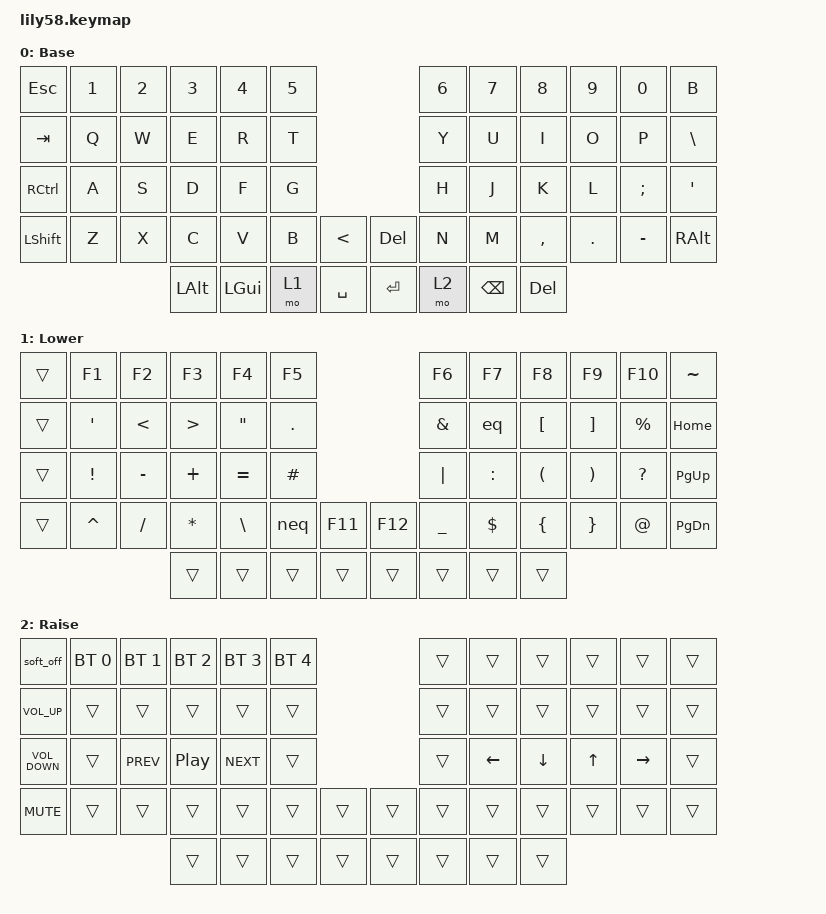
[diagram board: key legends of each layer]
/*
 * Copyright (c) 2020 The ZMK Contributors
 *
 * SPDX-License-Identifier: MIT
 */

#include <behaviors.dtsi>
#include <dt-bindings/zmk/bt.h>
#include <dt-bindings/zmk/keys.h>

/ {
    macros {
        eq: eq {
            compatible = "zmk,behavior-macro";
            #binding-cells = <0>;
            bindings = <&kp EQUAL &kp EQUAL>;
            label = "EQ";
        };

        neq: neq {
            compatible = "zmk,behavior-macro";
            #binding-cells = <0>;
            bindings = <&kp EXCL &kp EQUAL &kp EQUAL>;
            label = "NEQ";
        };

        emptyfunc: emptyfunc {
            compatible = "zmk,behavior-macro";
            #binding-cells = <0>;
            bindings = <&kp LPAR &kp RPAR &kp SPACE &kp EQUAL &kp GT &kp SPACE &kp RBKT &kp RBRC>;
            label = "EMPTYFUNC";
        };
    };

    combos {
        compatible = "zmk,combos";

        emptyfunccombo {
            bindings = <&emptyfunc>;
            key-positions = <32 33>;
        };
    };

    keymap {
        compatible = "zmk,keymap";

        default_layer {
            // ------------------------------------------------------------------------------------------------------------
            // |  ESC  |  1  |  2  |  3   |  4   |  5   |                   |  6   |  7    |  8    |  9   |   0   |   `   |
            // |  TAB  |  Q  |  W  |  E   |  R   |  T   |                   |  Y   |  U    |  I    |  O   |   P   |   -   |
            // |  CTRL |  A  |  S  |  D   |  F   |  G   |                   |  H   |  J    |  K    |  L   |   ;   |   '   |
            // | SHIFT |  Z  |  X  |  C   |  V   |  B   |   "["  |  |  "]"  |  N   |  M    |  ,    |  .   |   /   | SHIFT |
            //                     | ALT  | GUI  | LOWER|  SPACE |  | ENTER | RAISE| BSPC  | GUI   |

            display-name = "Base";
            bindings = <
&kp ESC         &kp N1  &kp N2  &kp N3        &kp N4    &kp N5                              &kp N6  &kp N7         &kp N8      &kp N9   &kp N0     &kp B
&kp TAB         &kp Q   &kp W   &kp E         &kp R     &kp T                               &kp Y   &kp U          &kp I       &kp O    &kp P      &kp BACKSLASH
&kp RCTRL       &kp A   &kp S   &kp D         &kp F     &kp G                               &kp H   &kp J          &kp K       &kp L    &kp SEMI   &kp SQT
&kp LEFT_SHIFT  &kp Z   &kp X   &kp C         &kp V     &kp B   &kp LESS_THAN    &kp DEL    &kp N   &kp M          &kp COMMA   &kp DOT  &kp MINUS  &kp RIGHT_ALT
                                &kp LEFT_ALT  &kp LGUI  &mo 1   &kp SPACE        &kp ENTER  &mo 2   &kp BACKSPACE  &kp DELETE
            >;
        };

        lower_layer {
            // ------------------------------------------------------------------------------------------------------------
            // | BTCLR | BT1 | BT2 |  BT3 |  BT4 |  BT5 |                   |      |       |       |      |       |       |
            // |  F1   |  F2 |  F3 |  F4  |  F5  |  F6  |                   |  F7  |  F8   |  F9   |  F10 |  F11  |  F12  |
            // |   `   |  !  |  @  |  #   |  $   |  %   |                   |  ^   |  &    |  *    |  (   |   )   |   ~   |
            // |       |     |     |      |      |      |        |  |       |      |  _    |  +    |  {   |   }   |  "|"  |
            //                     |      |      |      |        |  |       |      |       |       |

            display-name = "Lower";
            bindings = <
&trans  &kp F1            &kp F2         &kp F3            &kp F4             &kp F5                          &kp F6          &kp F7      &kp F8                &kp F9                 &kp F10       &kp TILDE
&trans  &kp SINGLE_QUOTE  &kp LESS_THAN  &kp GREATER_THAN  &kp DOUBLE_QUOTES  &kp PERIOD                      &kp AMPERSAND   &eq         &kp LEFT_BRACKET      &kp RIGHT_BRACKET      &kp PERCENT   &kp HOME
&trans  &kp EXCLAMATION   &kp MINUS      &kp PLUS          &kp EQUAL          &kp HASH                        &kp PIPE        &kp COLON   &kp LEFT_PARENTHESIS  &kp RIGHT_PARENTHESIS  &kp QUESTION  &kp PAGE_UP
&trans  &kp CARET         &kp SLASH      &kp ASTERISK      &kp BACKSLASH      &neq        &kp F11    &kp F12  &kp UNDERSCORE  &kp DOLLAR  &kp LEFT_BRACE        &kp RIGHT_BRACE        &kp AT_SIGN   &kp PAGE_DOWN
                                         &trans            &trans             &trans      &trans     &trans   &trans          &trans      &trans
            >;
        };

        raise_layer {
            // ------------------------------------------------------------------------------------------------------------
            // |       |     |     |      |      |      |                   |      |       |       |      |       |       |
            // |   `   |  1  |  2  |  3   |  4   |  5   |                   |  6   |   7   |   8   |  9   |   0   |       |
            // |   F1  |  F2 |  F3 |  F4  |  F5  |  F6  |                   |      |   <-  |   v   |  ^   |  ->   |       |
            // |   F7  |  F8 |  F9 |  F10 |  F11 |  F12 |        |  |       |  +   |   -   |   =   |  [   |   ]   |   \   |
            //                     |      |      |      |        |  |       |      |       |       |

            display-name = "Raise";
            bindings = <
&soft_off          &bt BT_SEL 0  &bt BT_SEL 1  &bt BT_SEL 2      &bt BT_SEL 3  &bt BT_SEL 4                    &trans  &trans    &trans          &trans        &trans     &trans
&kp C_VOL_UP       &trans        &trans        &trans            &trans        &trans                          &trans  &trans    &trans          &trans        &trans     &trans
&kp C_VOLUME_DOWN  &trans        &kp C_PREV    &kp C_PLAY_PAUSE  &kp C_NEXT    &trans                          &trans  &kp LEFT  &kp DOWN_ARROW  &kp UP_ARROW  &kp RIGHT  &trans
&kp C_MUTE         &trans        &trans        &trans            &trans        &trans        &trans    &trans  &trans  &trans    &trans          &trans        &trans     &trans
                                               &trans            &trans        &trans        &trans    &trans  &trans  &trans    &trans
            >;
        };
    };
};
